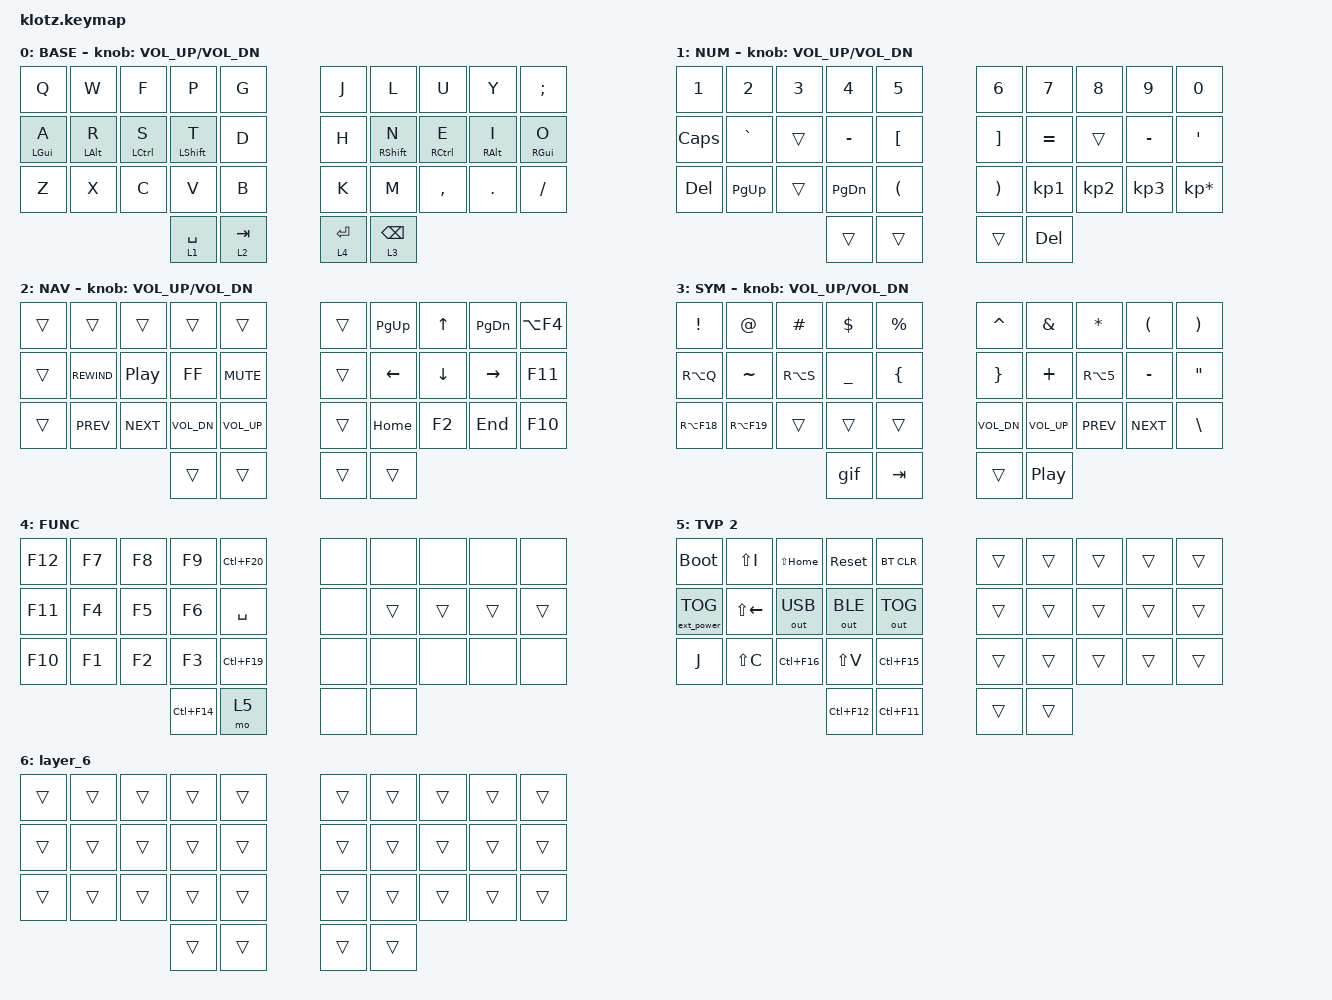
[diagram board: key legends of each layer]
//                                      █         ██        ▄▀▀▀▀▀▀▀▀▀▀█▀▀▀▀▀▀▀▀█▀▀▀▀▀▀▀▀▀▀█
//                                      █        █ █      ▄▀            ▀▄      █         █
//                                      █       █  █    ▄▀                ▀▄    █        █
//                                      █      █   █   █                    █   █       █
//                                      █     █    █   █                    █   █      █
//                                      █    █     █   █                    █   █  ▀▀▀█▀▀▀▀
//                                      █   █ █    █   █                    █   █    █
//                                      █  █   █   █   █                    █   █   █
//                                      █ █     █  █    ▀▄                ▄▀    █  █
//                                      ██       █ █      ▀▄            ▄▀      █ █
//                                      █         ██▄▄▄▄▄▄▄▄█▄▄▄▄▄▄▄▄▄▄▀        ██▄▄▄▄▄▄▄▄▄▄
//
// ▄▄▄▄▄▄▄▄▄▄▄▄▄▄▄▄▄▄▄▄▄▄▄▄▄▄▄▄▄▄▄▄▄▄▄▄▄▄▄▄▄▄▄▄▄▄▄▄▄▄▄▄▄▄▄▄▄▄▄▄▄▄▄▄▄▄▄▄▄▄▄▄▄▄▄▄▄▄▄▄▄▄▄▄▄▄▄▄▄▄▄▄▄▄▄▄▄▄▄▄▄▄▄▄▄▄▄▄▄▄▄▄▄▄▄▄▄▄▄▄▄▄▄▄▄

#include <behaviors.dtsi>
#include <dt-bindings/zmk/bt.h>
#include <dt-bindings/zmk/ext_power.h>
#include <dt-bindings/zmk/keys.h>
#include <dt-bindings/zmk/outputs.h>

#define BASE 0
#define NAV  1
#define SYM  2
#define ADJ  3
#define TVP1 4
#define TVP2 5

&lt {
    tapping-term-ms = <195>;
    quick-tap-ms = <190>;
    require-prior-idle-ms = <0>;
};

/ {
    combos {
        compatible = "zmk,combos";

        combo_esc {
            timeout-ms = <50>;
            key-positions = <0 1>;
            bindings = <&kp ESC>;
        };

        combo_tvp {
            timeout-ms = <100>;
            key-positions = <11 12 13>;
            bindings = <&kp LG(LS(S))>;
        };

        combo_copy {
            bindings = <&kp LC(C)>;
            key-positions = <21 22>;
        };

        combo_paste {
            bindings = <&kp LC(V)>;
            key-positions = <22 23>;
        };

        combo_ctrl+w {
            bindings = <&kp LC(W)>;
            key-positions = <1 2>;
        };

        combo_haen {
            bindings = <&kp LANG_HANGEUL>;
            key-positions = <27 28>;
        };

        combo_cut {
            bindings = <&kp LC(X)>;
            key-positions = <21 23>;
        };

        alt-tab {
            bindings = <&kp LA(TAB)>;
            key-positions = <11 31>;
        };

        left_parenthesis {
            bindings = <&kp LEFT_PARENTHESIS>;
            key-positions = <8 7>;
        };

        right_parenthesis {
            bindings = <&kp RIGHT_PARENTHESIS>;
            key-positions = <9 8>;
        };
    };

    macros {
        gif: gif {
            label = "giphy";
            compatible = "zmk,behavior-macro";
            #binding-cells = <0>;
            bindings =
                <&macro_press>,
                <&kp LSHFT>,
                <&macro_tap>,
                <&kp N2>,
                <&macro_release>,
                <&kp LSHFT>,
                <&macro_tap>,
                <&kp G &kp I &kp F>;
        };

        qusp: qusp {
            label = "quote space";
            compatible = "zmk,behavior-macro";
            #binding-cells = <0>;
            bindings = <&macro_tap>, <&kp DQT>, <&macro_tap>, <&kp SPACE>;
        };

        sqsp: sqsp {
            label = "quote space";
            compatible = "zmk,behavior-macro";
            #binding-cells = <0>;
            bindings = <&macro_tap>, <&kp SQT>, <&macro_tap>, <&kp SPACE>;
        };
    };

    behaviors {
        ALT_TAB: ALT_TAB {
            compatible = "zmk,behavior-mod-morph";
            label = "ALT_TAB";
            bindings = <&kp SPACE>, <&kp TAB>;

            #binding-cells = <0>;
            mods = <(MOD_LALT)>;
        };

        HM: homerow_mods {
            compatible = "zmk,behavior-hold-tap";
            label = "Homerow_Mods";
            bindings = <&kp>, <&kp>;

            #binding-cells = <2>;
            tapping-term-ms = <195>;
            quick-tap-ms = <190>;
            flavor = "tap-preferred";
        };
    };

    keymap {
        compatible = "zmk,keymap";

        // ▄▄▄▄▄▄▄▄▄▄▄▄▄▄▄▄▄▄▄▄▄▄▄▄▄▄▄▄▄▄▄▄▄▄▄▄▄▄▄▄▄▄▄▄▄▄▄▄▄▄▄▄▄▄▄▄▄▄▄▄▄▄▄▄▄▄▄▄▄▄▄▄▄▄▄▄▄▄▄▄▄▄▄▄▄▄▄▄▄▄▄▄▄▄▄▄▄▄▄▄▄▄▄▄▄▄▄▄▄▄▄▄▄▄▄▄▄▄▄▄▄▄▄▄▄

        base_layer {
            // ┏━━━━━━━━━━━━━━━━━━━━━━━━━━━━━━━━━━━━━━━┓

            label = "BASE";

            // ┗━━━━━━━━━━━━━━━━━━━━━━━━━━━━━━━━━━━━━━━┛
            // ┏━━━━━━━━━━━┳━━━━━━━━━━━┳━━━━━━━━━━━┳━━━━━━━━━━━┳━━━━━━━━━━━┓   ┏━━━━━━━━━━━┳━━━━━━━━━━━┳━━━━━━━━━━━┳━━━━━━━━━━━┳━━━━━━━━━━━┓
            // ┃     Q     ┃     W     ┃     F     ┃     P     ┃     G     ┃   ┃     J     ┃     L     ┃     U     ┃     Y     ┃     ;     ┃
            // ┣━━━━━━━━━━━╋━━━━━━━━━━━╋━━━━━━━━━━━╋━━━━━━━━━━━╋━━━━━━━━━━━┫   ┣━━━━━━━━━━━╋━━━━━━━━━━━╋━━━━━━━━━━━╋━━━━━━━━━━━╋━━━━━━━━━━━┫
            // ┃     A     ┃     R     ┃     S     ┃     T     ┃     D     ┃   ┃     H     ┃     N     ┃     E     ┃     I     ┃     O     ┃
            // ┣━━━━━━━━━━━╋━━━━━━━━━━━╋━━━━━━━━━━━╋━━━━━━━━━━━╋━━━━━━━━━━━┫   ┣━━━━━━━━━━━╋━━━━━━━━━━━╋━━━━━━━━━━━╋━━━━━━━━━━━╋━━━━━━━━━━━┫
            // ┃     Z     ┃     X     ┃     C     ┃     V     ┃     B     ┃   ┃     K     ┃     M     ┃     ,     ┃     .     ┃     /     ┃
            // ┗━━━━━━━━━━━┻━━━━━━━━━━━┻━━━━━━━━━━━╋━━━━━━━━━━━╋━━━━━━━━━━━┫   ┣━━━━━━━━━━━╋━━━━━━━━━━━╋━━━━━━━━━━━┻━━━━━━━━━━━┻━━━━━━━━━━━┛
            //                                     ┃    TAB    ┃    SPC    ┃   ┃   ENTER   ┃   BSPC    ┃
            //                                     ┗━━━━━━━━━━━┻━━━━━━━━━━━┛   ┗━━━━━━━━━━━┻━━━━━━━━━━━┛

            bindings = <
&kp Q       &kp W       &kp F        &kp P        &kp G      &kp J      &kp L            &kp U        &kp Y       &kp SEMI
&HM LGUI A  &HM LALT R  &HM LCTRL S  &HM LSHFT T  &kp D      &kp H      &HM RSHFT N      &HM RCTRL E  &HM RALT I  &HM RGUI O
&kp Z       &kp X       &kp C        &kp V        &kp B      &kp K      &kp M            &kp COMMA    &kp DOT     &kp FSLH
                                     &lt 1 SPACE  &lt 2 TAB  &lt 4 RET  &lt 3 BACKSPACE
            >;

            sensor-bindings = <&inc_dec_kp C_VOL_UP C_VOL_DN>;
        };

        num_layer {
            // ┏━━━━━━━━━━━━━━━━━━━━━━━━━━━━━━━━━━━━━━━┓

            label = "NUM";

            // ┗━━━━━━━━━━━━━━━━━━━━━━━━━━━━━━━━━━━━━━━┛
            // ┏━━━━━━━━━━━┳━━━━━━━━━━━┳━━━━━━━━━━━┳━━━━━━━━━━━┳━━━━━━━━━━━┓   ┏━━━━━━━━━━━┳━━━━━━━━━━━┳━━━━━━━━━━━┳━━━━━━━━━━━┳━━━━━━━━━━━┓
            // ┃           ┃           ┃     UP    ┃           ┃     {     ┃   ┃     }     ┃     7     ┃     8     ┃     9     ┃     +     ┃
            // ┣━━━━━━━━━━━╋━━━━━━━━━━━╋━━━━━━━━━━━╋━━━━━━━━━━━╋━━━━━━━━━━━┫   ┣━━━━━━━━━━━╋━━━━━━━━━━━╋━━━━━━━━━━━╋━━━━━━━━━━━╋━━━━━━━━━━━┫
            // ┃   SHIFT   ┃   LEFT    ┃    DOWN   ┃   RIGHT   ┃     [     ┃   ┃     ]     ┃     4     ┃     5     ┃     6     ┃     -     ┃
            // ┣━━━━━━━━━━━╋━━━━━━━━━━━╋━━━━━━━━━━━╋━━━━━━━━━━━╋━━━━━━━━━━━┫   ┣━━━━━━━━━━━╋━━━━━━━━━━━╋━━━━━━━━━━━╋━━━━━━━━━━━╋━━━━━━━━━━━┫
            // ┃           ┃   P UP    ┃  C LOCK   ┃  P DOWN   ┃     (     ┃   ┃     )     ┃     1     ┃     2     ┃     3     ┃     *     ┃
            // ┗━━━━━━━━━━━┻━━━━━━━━━━━┻━━━━━━━━━━━╋━━━━━━━━━━━╋━━━━━━━━━━━┫   ┣━━━━━━━━━━━╋━━━━━━━━━━━╋━━━━━━━━━━━┻━━━━━━━━━━━┻━━━━━━━━━━━┛
            //                                     ┃           ┃           ┃   ┃    DEL    ┃     0     ┃  
            //                                     ┗━━━━━━━━━━━┻━━━━━━━━━━━┛   ┗━━━━━━━━━━━┻━━━━━━━━━━━┛

            bindings = <
&kp NUMBER_1  &kp NUMBER_2  &kp NUMBER_3  &kp NUMBER_4  &kp N5    &kp NUMBER_6  &kp NUMBER_7  &kp NUMBER_8  &kp NUMBER_9  &kp NUMBER_0
&kp CAPSLOCK  &kp GRAVE     &trans        &kp MINUS     &kp LBKT  &kp RBKT      &kp EQUAL     &trans        &kp MINUS     &kp SINGLE_QUOTE
&kp DEL       &kp PG_UP     &trans        &kp PG_DN     &kp LPAR  &kp RPAR      &kp KP_N1     &kp KP_N2     &kp KP_N3     &kp KP_MULTIPLY
                                          &trans        &trans    &trans        &kp DEL
            >;

            sensor-bindings = <&inc_dec_kp C_VOL_UP C_VOL_DN>;
        };

        nav_layer {
            // ┏━━━━━━━━━━━━━━━━━━━━━━━━━━━━━━━━━━━━━━━┓

            label = "NAV";

            // ┗━━━━━━━━━━━━━━━━━━━━━━━━━━━━━━━━━━━━━━━┛
            // ┏━━━━━━━━━━━┳━━━━━━━━━━━┳━━━━━━━━━━━┳━━━━━━━━━━━┳━━━━━━━━━━━┓   ┏━━━━━━━━━━━┳━━━━━━━━━━━┳━━━━━━━━━━━┳━━━━━━━━━━━┳━━━━━━━━━━━┓
            // ┃   RESET   ┃ BT CLEAR  ┃  OUT TOG  ┃           ┃           ┃   ┃           ┃    F7     ┃    F8     ┃    F9     ┃    F12    ┃
            // ┣━━━━━━━━━━━╋━━━━━━━━━━━╋━━━━━━━━━━━╋━━━━━━━━━━━╋━━━━━━━━━━━┫   ┣━━━━━━━━━━━╋━━━━━━━━━━━╋━━━━━━━━━━━╋━━━━━━━━━━━╋━━━━━━━━━━━┫
            // ┃ BOOTLOAD  ┃ BT NEXT   ┃           ┃           ┃           ┃   ┃           ┃    F4     ┃    F5     ┃    F6     ┃    F11    ┃
            // ┣━━━━━━━━━━━╋━━━━━━━━━━━╋━━━━━━━━━━━╋━━━━━━━━━━━╋━━━━━━━━━━━┫   ┣━━━━━━━━━━━╋━━━━━━━━━━━╋━━━━━━━━━━━╋━━━━━━━━━━━╋━━━━━━━━━━━┫
            // ┃           ┃ BT PREV   ┃           ┃           ┃           ┃   ┃           ┃    F1     ┃    F2     ┃    F3     ┃    F10    ┃
            // ┗━━━━━━━━━━━┻━━━━━━━━━━━┻━━━━━━━━━━━╋━━━━━━━━━━━╋━━━━━━━━━━━┫   ┣━━━━━━━━━━━╋━━━━━━━━━━━╋━━━━━━━━━━━┻━━━━━━━━━━━┻━━━━━━━━━━━┛
            //                                     ┃           ┃           ┃   ┃           ┃           ┃
            //                                     ┗━━━━━━━━━━━┻━━━━━━━━━━━┛   ┗━━━━━━━━━━━┻━━━━━━━━━━━┛

            bindings = <
&trans  &trans        &trans            &trans        &trans        &trans  &kp PG_UP  &kp UP_ARROW  &kp PAGE_DOWN  &kp LA(F4)
&trans  &kp C_REWIND  &kp C_PLAY_PAUSE  &kp C_FF      &kp C_MUTE    &trans  &kp LEFT   &kp DOWN      &kp RIGHT      &kp F11
&trans  &kp C_PREV    &kp C_NEXT        &kp C_VOL_DN  &kp C_VOL_UP  &trans  &kp HOME   &kp F2        &kp END        &kp F10
                                        &trans        &trans        &trans  &trans
            >;

            sensor-bindings = <&inc_dec_kp C_VOL_UP C_VOL_DN>;
        };

        sym_layer {
            // ┏━━━━━━━━━━━━━━━━━━━━━━━━━━━━━━━━━━━━━━━┓

            label = "SYM";

            // ┗━━━━━━━━━━━━━━━━━━━━━━━━━━━━━━━━━━━━━━━┛
            // ┏━━━━━━━━━━━┳━━━━━━━━━━━┳━━━━━━━━━━━┳━━━━━━━━━━━┳━━━━━━━━━━━┓   ┏━━━━━━━━━━━┳━━━━━━━━━━━┳━━━━━━━━━━━┳━━━━━━━━━━━┳━━━━━━━━━━━┓
            // ┃     !     ┃     @     ┃     #     ┃     $     ┃     %     ┃   ┃     ˆ     ┃     &     ┃     Ü     ┃     '     ┃     "     ┃
            // ┣━━━━━━━━━━━╋━━━━━━━━━━━╋━━━━━━━━━━━╋━━━━━━━━━━━╋━━━━━━━━━━━┫   ┣━━━━━━━━━━━╋━━━━━━━━━━━╋━━━━━━━━━━━╋━━━━━━━━━━━╋━━━━━━━━━━━┫
            // ┃     Ä     ┃           ┃    SZ     ┃           ┃           ┃   ┃   MUTE    ┃   YEN     ┃   EURO    ┃  POUND    ┃     Ö     ┃
            // ┣━━━━━━━━━━━╋━━━━━━━━━━━╋━━━━━━━━━━━╋━━━━━━━━━━━╋━━━━━━━━━━━┫   ┣━━━━━━━━━━━╋━━━━━━━━━━━╋━━━━━━━━━━━╋━━━━━━━━━━━╋━━━━━━━━━━━┫
            // ┃  EMAIL1   ┃  EMAIL2   ┃           ┃           ┃           ┃   ┃   VOL-    ┃   VOL+    ┃   LAST    ┃   NEXT    ┃     \     ┃
            // ┗━━━━━━━━━━━┻━━━━━━━━━━━┻━━━━━━━━━━━╋━━━━━━━━━━━╋━━━━━━━━━━━┫   ┣━━━━━━━━━━━╋━━━━━━━━━━━╋━━━━━━━━━━━┻━━━━━━━━━━━┻━━━━━━━━━━━┛
            //                                     ┃    GIF    ┃  ADJUST   ┃   ┃           ┃   PLAY    ┃   
            //                                     ┗━━━━━━━━━━━┻━━━━━━━━━━━┛   ┗━━━━━━━━━━━┻━━━━━━━━━━━┛

            bindings = <
&kp EXCL     &kp AT       &kp HASH   &kp DLLR        &kp PRCNT       &kp CARET        &kp AMPS      &kp ASTERISK  &kp LEFT_PARENTHESIS  &kp RIGHT_PARENTHESIS
&kp RA(Q)    &kp TILDE    &kp RA(S)  &kp UNDERSCORE  &kp LEFT_BRACE  &kp RIGHT_BRACE  &kp PLUS      &kp RA(N5)    &kp MINUS             &kp DOUBLE_QUOTES
&kp RA(F18)  &kp RA(F19)  &trans     &trans          &trans          &kp C_VOL_DN     &kp C_VOL_UP  &kp C_PREV    &kp C_NEXT            &kp BSLH
                                     &gif            &kp TAB         &trans           &kp C_PP
            >;

            sensor-bindings = <&inc_dec_kp C_VOL_UP C_VOL_DN>;
        };

        func_layer {
            // ┏━━━━━━━━━━━━━━━━━━━━━━━━━━━━━━━━━━━━━━━┓

            label = "FUNC";

            // ┗━━━━━━━━━━━━━━━━━━━━━━━━━━━━━━━━━━━━━━━┛
            // ┏━━━━━━━━━━━┳━━━━━━━━━━━┳━━━━━━━━━━━┳━━━━━━━━━━━┳━━━━━━━━━━━┓   ┏━━━━━━━━━━━┳━━━━━━━━━━━┳━━━━━━━━━━━┳━━━━━━━━━━━┳━━━━━━━━━━━┓
            // ┃ NEXT FILE ┃ MARK IN   ┃ ROTATE    ┃ MARK OUT  ┃ SHOW SNAP ┃   ┃           ┃           ┃           ┃           ┃           ┃
            // ┣━━━━━━━━━━━╋━━━━━━━━━━━╋━━━━━━━━━━━╋━━━━━━━━━━━╋━━━━━━━━━━━┫   ┣━━━━━━━━━━━╋━━━━━━━━━━━╋━━━━━━━━━━━╋━━━━━━━━━━━╋━━━━━━━━━━━┫
            // ┃ TVP II    ┃ LEFT      ┃ PAN       ┃ RIGHT     ┃ PLAY/FLIP ┃   ┃           ┃           ┃           ┃           ┃           ┃
            // ┣━━━━━━━━━━━╋━━━━━━━━━━━╋━━━━━━━━━━━╋━━━━━━━━━━━╋━━━━━━━━━━━┫   ┣━━━━━━━━━━━╋━━━━━━━━━━━╋━━━━━━━━━━━╋━━━━━━━━━━━╋━━━━━━━━━━━┫
            // ┃ SHIFT     ┃ COPY      ┃ DELETE    ┃ PASTE     ┃ IMG MARK  ┃   ┃           ┃           ┃           ┃           ┃           ┃
            // ┗━━━━━━━━━━━┻━━━━━━━━━━━┻━━━━━━━━━━━╋━━━━━━━━━━━╋━━━━━━━━━━━┫   ┣━━━━━━━━━━━╋━━━━━━━━━━━╋━━━━━━━━━━━┻━━━━━━━━━━━┻━━━━━━━━━━━┛
            //                                     ┃ UNDO/SAVE ┃  SEL/MOV  ┃   ┃           ┃           ┃
            //                                     ┗━━━━━━━━━━━┻━━━━━━━━━━━┛   ┗━━━━━━━━━━━┻━━━━━━━━━━━┛

            bindings = <
&kp F12  &kp F7  &kp F8  &kp F9       &kp LC(F20)  &none  &none   &none   &none   &none
&kp F11  &kp F4  &kp F5  &kp F6       &kp SPACE    &none  &trans  &trans  &trans  &trans
&kp F10  &kp F1  &kp F2  &kp F3       &kp LC(F19)  &none  &none   &none   &none   &none
                         &kp LC(F14)  &mo 5        &none  &none
            >;
        };

        tvp2_layer {
            // ┏━━━━━━━━━━━━━━━━━━━━━━━━━━━━━━━━━━━━━━━┓

            label = "TVP 2";

            // ┗━━━━━━━━━━━━━━━━━━━━━━━━━━━━━━━━━━━━━━━┛
            // ┏━━━━━━━━━━━┳━━━━━━━━━━━┳━━━━━━━━━━━┳━━━━━━━━━━━┳━━━━━━━━━━━┓   ┏━━━━━━━━━━━┳━━━━━━━━━━━┳━━━━━━━━━━━┳━━━━━━━━━━━┳━━━━━━━━━━━┓
            // ┃ SOLO      ┃ TOGGLE IN ┃ RESET ROT ┃ TOGGLE OUT┃ TAKE SNAP ┃   ┃           ┃           ┃           ┃           ┃           ┃
            // ┣━━━━━━━━━━━╋━━━━━━━━━━━╋━━━━━━━━━━━╋━━━━━━━━━━━╋━━━━━━━━━━━┫   ┣━━━━━━━━━━━╋━━━━━━━━━━━╋━━━━━━━━━━━╋━━━━━━━━━━━╋━━━━━━━━━━━┫
            // ┃ ---       ┃ LAST KEY  ┃ NEW KEY   ┃ NEXT KEY  ┃ ENTER     ┃   ┃           ┃           ┃           ┃           ┃           ┃
            // ┣━━━━━━━━━━━╋━━━━━━━━━━━╋━━━━━━━━━━━╋━━━━━━━━━━━╋━━━━━━━━━━━┫   ┣━━━━━━━━━━━╋━━━━━━━━━━━╋━━━━━━━━━━━╋━━━━━━━━━━━╋━━━━━━━━━━━┫
            // ┃ FULLSCR   ┃ CPY2BRUSH ┃ DEL HEAD  ┃ PSTinPLACE┃ BOOK MARK ┃   ┃           ┃           ┃           ┃           ┃           ┃
            // ┗━━━━━━━━━━━┻━━━━━━━━━━━┻━━━━━━━━━━━╋━━━━━━━━━━━╋━━━━━━━━━━━┫   ┣━━━━━━━━━━━╋━━━━━━━━━━━╋━━━━━━━━━━━┻━━━━━━━━━━━┻━━━━━━━━━━━┛
            //                                     ┃ REDO/SAV1 ┃TRANS/WARP ┃   ┃           ┃           ┃
            //                                     ┗━━━━━━━━━━━┻━━━━━━━━━━━┛   ┗━━━━━━━━━━━┻━━━━━━━━━━━┛

            bindings = <
&bootloader        &kp LS(I)     &kp LS(HOME)  &sys_reset    &bt BT_CLR    &trans  &trans  &trans  &trans  &trans
&ext_power EP_TOG  &kp LS(LEFT)  &out OUT_USB  &out OUT_BLE  &out OUT_TOG  &trans  &trans  &trans  &trans  &trans
&kp J              &kp LS(C)     &kp LC(F16)   &kp LS(V)     &kp LC(F15)   &trans  &trans  &trans  &trans  &trans
                                               &kp LC(F12)   &kp LC(F11)   &trans  &trans
            >;
        };

        layer_6 {
            bindings = <
&trans  &trans  &trans  &trans  &trans  &trans  &trans  &trans  &trans  &trans
&trans  &trans  &trans  &trans  &trans  &trans  &trans  &trans  &trans  &trans
&trans  &trans  &trans  &trans  &trans  &trans  &trans  &trans  &trans  &trans
                        &trans  &trans  &trans  &trans
            >;
        };
    };
};
